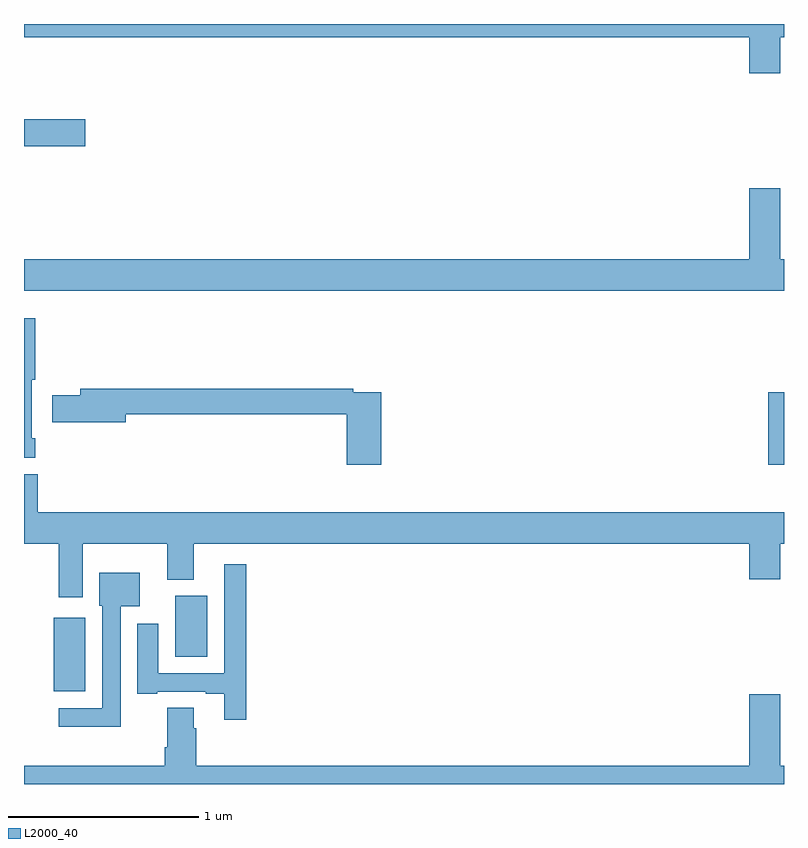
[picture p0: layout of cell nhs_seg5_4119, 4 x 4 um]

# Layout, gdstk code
import gdstk
lib = gdstk.Library(unit=1e-6, precision=1e-09)
def R(c, l, rs):  # rectangles x0, y0, x1, y1
    for r in rs: c.add(gdstk.rectangle(r[:2], r[2:], *l))
def P(c, l, *ps):  # polygons
    for p in ps: c.add(gdstk.Polygon(p, *l))
L2000_40 = (2000, 40)

nhs_seg5_4119 = lib.new_cell('nhs_seg5_4119')
R(nhs_seg5_4119, L2000_40, [(353.156,885.287,353.323,885.673), (353.795,885.47,353.965,885.79), (356.918,886.479,357,886.86), (353,888.155,353.323,888.297)])
P(nhs_seg5_4119, L2000_40, [(356.98,888.728),(357,888.728),(357,888.799),(353,888.799),(353,888.728),(356.816,888.728),(356.816,888.54),(356.98,888.54)],
  [(357,887.56),(356.98,887.56),(356.98,887.935),(356.816,887.935),(356.816,887.56),(353,887.56),(353,887.396),(357,887.396)],
  [(353.06,886.618),(353.04,886.618),(353.04,886.927),(353.06,886.927),(353.06,887.251),(353,887.251),(353,886.515),(353.06,886.515)],
  [(354.881,886.86),(354.734,886.86),(354.734,886.88),(353.297,886.88),(353.297,886.844),(353.148,886.844),(353.148,886.702),(353.536,886.702),(353.536,886.744),(354.698,886.744),(354.698,886.479),(354.881,886.479)],
  [(353.308,886.064),(353.753,886.064),(353.753,885.875),(353.893,885.875),(353.893,886.064),(356.816,886.064),(356.816,885.876),(356.98,885.876),(356.98,886.064),(357,886.064),(357,886.228),(353.072,886.228),(353.072,886.43),(353,886.43),(353,886.064),(353.183,886.064),(353.183,885.783),(353.308,885.783)],
  [(354.17,885.955),(354.054,885.955),(354.054,885.381),(353.707,885.381),(353.707,885.643),(353.597,885.643),(353.597,885.273),(353.701,885.273),(353.701,885.285),(353.957,885.285),(353.957,885.273),(354.053,885.273),(354.053,885.138),(354.17,885.138)],
  [(353.508,885.734),(353.608,885.734),(353.608,885.91),(353.396,885.91),(353.396,885.738),(353.412,885.738),(353.412,885.198),(353.184,885.198),(353.184,885.101),(353.508,885.101)],
  [(357,884.896),(356.98,884.896),(356.98,885.271),(356.816,885.271),(356.816,884.896),(353.906,884.896),(353.906,885.092),(353.893,885.092),(353.893,885.2),(353.753,885.2),(353.753,884.992),(353.741,884.992),(353.741,884.896),(353,884.896),(353,884.799),(357,884.799)])

lib.write_gds('nhs_seg5_4119.gds')
